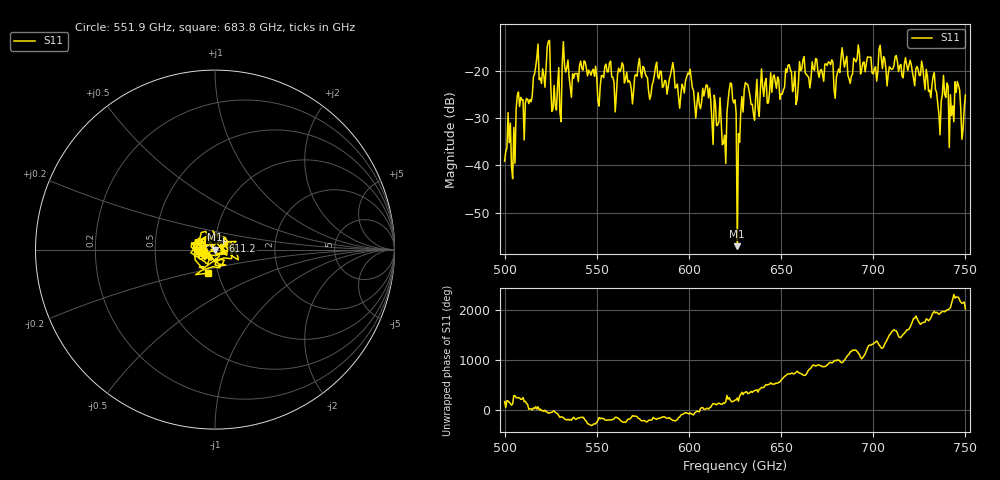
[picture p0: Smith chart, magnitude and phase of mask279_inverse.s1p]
!Created with skrf (http://scikit-rf.org).
# GHz S MA R 50.0
!freq magS11 angS11
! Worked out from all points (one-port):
!   401 points, 500 GHz to 750 GHz, reference 50 ohm
!   lowest |S11| = -57.1 dB at 626.2 GHz (marker M1), VSWR 1.00, Z = 49.9 - j0.124 ohm
!   |S11| at or under -10 dB: start of sweep to end of sweep
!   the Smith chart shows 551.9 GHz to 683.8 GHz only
!   S11 on the Smith chart (normalised r, x): 551.9 GHz: 0.87, -0.02; 611.2 GHz: 1.09, +0.11; 683.8 GHz: 0.89, -0.24
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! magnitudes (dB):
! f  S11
! 500 GHz  -39.1
! 516.9 GHz  -19.1
! 523.8 GHz  -13.7
! 526.9 GHz  -23.0
! 531.2 GHz  -18.6
! 542.5 GHz  -19.9
! 551.9 GHz  -23.2
! 562.5 GHz  -20.2
! 593.8 GHz  -22.8
! 600 GHz  -20.7
! 604.4 GHz  -26.9
! 611.2 GHz  -23.6
! 618.8 GHz  -35.3
! 623.1 GHz  -22.8
! 625 GHz  -26.1
! 626.2 GHz  -57.1
! 631.2 GHz  -22.8
! 635 GHz  -29.0
! 656.2 GHz  -24.4
! 683.8 GHz  -17.3
! 687.5 GHz  -22.6
! 691.2 GHz  -17.5
! 718.8 GHz  -19.9
! 735.6 GHz  -29.1
! 739.4 GHz  -25.6
! 742.5 GHz  -29.4
! 745.6 GHz  -22.2
! 750 GHz  -25.1
